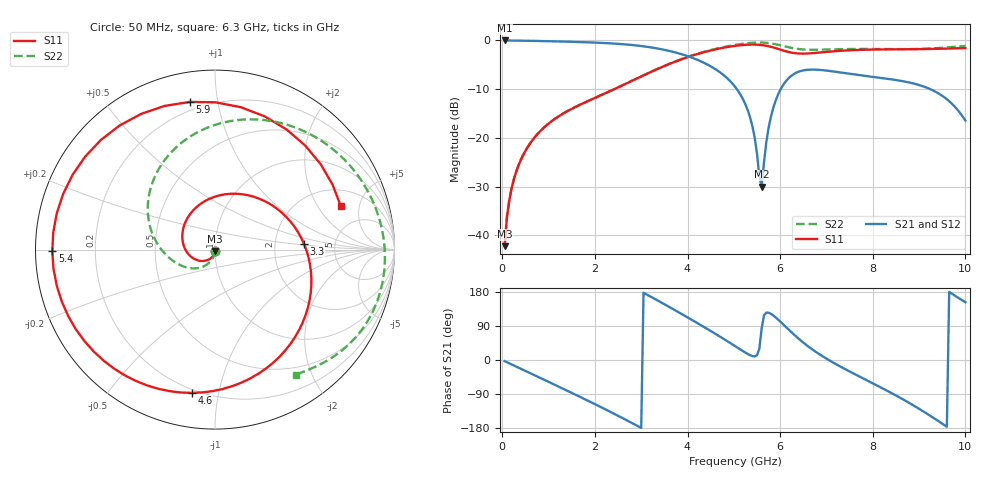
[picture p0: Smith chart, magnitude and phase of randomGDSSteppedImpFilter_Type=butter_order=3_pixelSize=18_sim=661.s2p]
! freq	dB(S11)	phase(S11)	dB(S12)	phase(S12)
!  dB(S21)	phase(S21)	dB(S22)	phase(S22)
!S-par simulation data
#  GHz  S  DB  R 50
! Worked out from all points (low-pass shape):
!   200 points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, 50 MHz to 10 GHz, reference 50 ohm
!   highest |S21| = -0.01 dB at 50 MHz (marker M1); lowest = -30.0 dB at 5.6 GHz (marker M2)
!   |S21| within 3 dB of the highest: start of sweep to 3.932 GHz
!   lowest |S11| = -42.2 dB at 50 MHz (marker M3), VSWR 1.02, Z = 50 - j0.771 ohm
!   |S11| at or under -10 dB: start of sweep to 2.421 GHz
!   |S22| runs from -42.2 to -0.4 dB; largest |S21 - S12| = 0
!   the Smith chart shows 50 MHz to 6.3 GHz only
!   S11 on the Smith chart (normalised r, x): 50 MHz: 1.00, -0.02; 3.3 GHz: 2.95, +0.26; 4.6 GHz: 0.18, -0.83; 5.4 GHz: 0.05, -0.00; 5.9 GHz: 0.15, +0.83; 6.3 GHz: 3.05, +3.27
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0.05  -42.24 -92.1  -0.01 -2.9  -0.01 -2.9  -42.23 -90.7
0.2  -30.42 -104.2  -0.02 -11.6  -0.02 -11.6  -30.40 -98.5
0.5  -22.67 -126.6  -0.06 -28.9  -0.06 -28.9  -22.64 -112.1
1.15  -16.01 -175.6  -0.19 -66.4  -0.19 -66.4  -15.99 -138.7
1.75  -12.89 135.8  -0.36 -101.5  -0.36 -101.5  -12.88 -160.6
2.6  -9.20 62.4  -0.77 -153.5  -0.77 -153.5  -9.19 168.6
3.3  -6.08 3.8  -1.57 160.8  -1.57 160.8  -6.06 135.9
3.4  -5.66 -4.3  -1.74 154.0  -1.74 154.0  -5.64 130.4
4  -3.44 -51.4  -3.22 112.5  -3.22 112.5  -3.39 94.6
4.6  -1.84 -99.2  -5.89 69.2  -5.89 69.2  -1.74 55.3
5.05  -1.09 -139.9  -9.81 34.9  -9.81 34.9  -0.88 24.5
5.4  -0.85 -179.5  -17.59 10.3  -17.59 10.3  -0.49 -0.0
5.6  -0.95 152.3  -30.03 82.7  -30.03 82.7  -0.44 -14.3
5.75  -1.19 127.5  -17.96 124.8  -17.96 124.8  -0.54 -24.9
5.9  -1.57 99.7  -12.44 112.7  -12.44 112.7  -0.77 -35.0
6.3  -2.60 19.0  -6.88 66.9  -6.88 66.9  -1.63 -57.0
6.7  -2.61 -46.2  -5.98 27.4  -5.98 27.4  -1.92 -75.1
7.3  -2.13 -107.1  -6.57 -17.3  -6.57 -17.3  -1.80 -105.2
8.35  -1.83 -177.3  -7.92 -83.7  -7.92 -83.7  -1.78 -170.2
8.85  -1.80 150.2  -8.77 -117.7  -8.77 -117.7  -1.78 151.0
9.35  -1.74 112.3  -10.50 -155.8  -10.50 -155.8  -1.60 106.6
10  -1.58 48.6  -16.46 152.6  -16.46 152.6  -1.14 46.3
